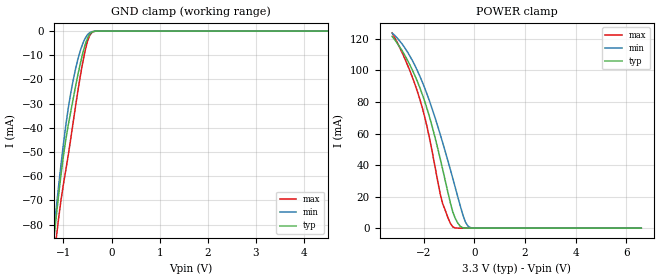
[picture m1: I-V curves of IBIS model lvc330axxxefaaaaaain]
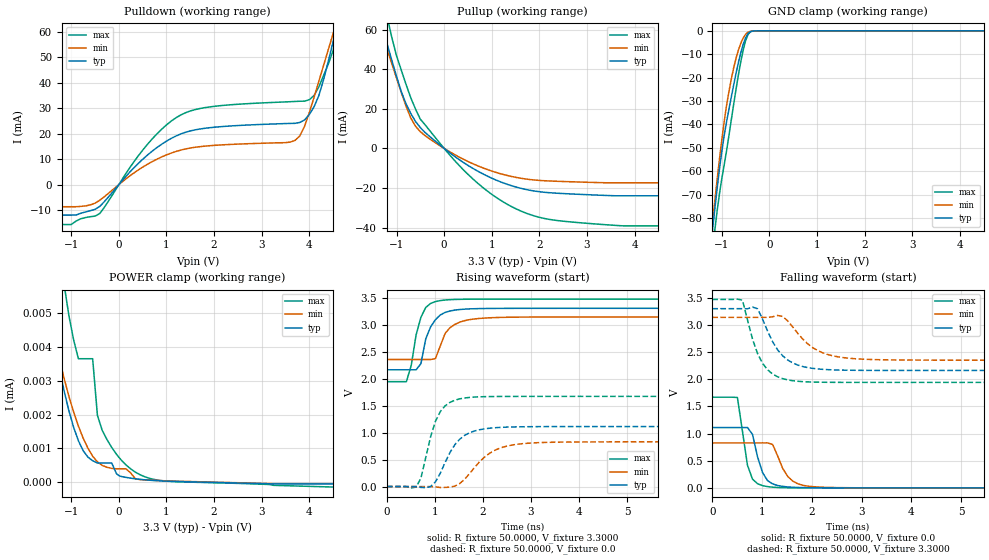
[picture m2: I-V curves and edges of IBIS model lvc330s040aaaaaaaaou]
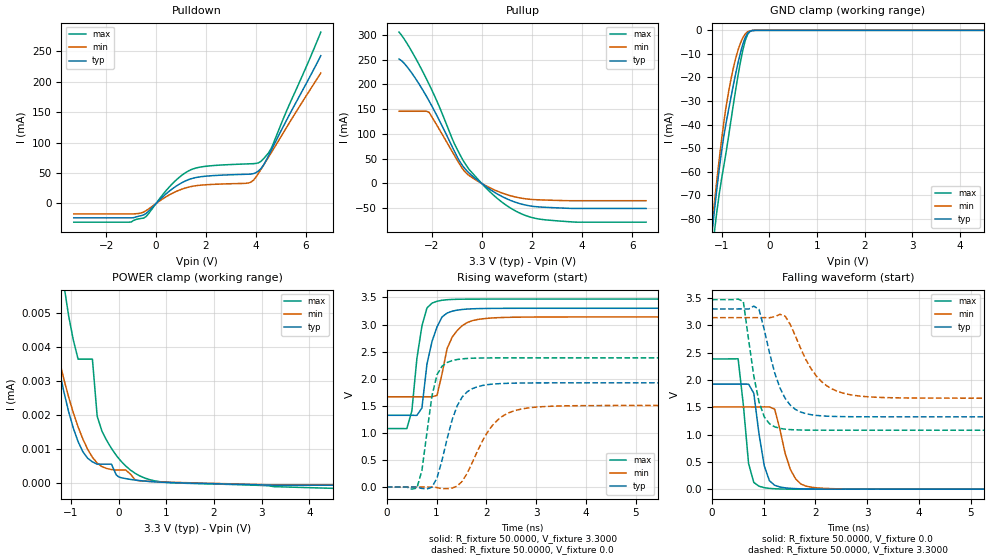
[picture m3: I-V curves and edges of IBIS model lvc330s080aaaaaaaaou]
| IBIS Models Generator: Lattice Diamond (64-bit) 3.14.0.75.2
| Generate date: Wed Apr 15 04:16:30 2026
| IBIS File LibisMaker.ibs
| LibisGen v2.0.1.0, 02/25/2008, Lattice Semiconductor Corporation
| Modified by LibisMaker v2.0.1.0, 02/25/2008, Lattice Semiconductor
| North Carolina State University, ERL, 2006
[IBIS ver]   3.2
[File Name]   PROJ500_PDU_FPGA_V1.ibs
[File Rev]   3.6
[Date]   Thu Aug  3 04:51:03 PDT 2023
[Source]   Lattice Semiconductor cs200fl Process
   LCMXO2-640HC   FINAL
   Lattice Semiconductor has worked hard to ensure the
   models below are accurate and complete.  However, the
   data below was generated using simulation of the
   input/output model files for the silicon.  Therefore,
   the data below is for reference and initial design
   purposes only.
   Lattice Semiconductor grants permission to use this
   data for use in printed circuit design using this
   Lattice programmable logic device.  Other use of this
   code, including the selling or duplication of any
   portion is strictly prohibited.
|   NAMING CONVENTION
   The IBIS [Model] header is limited by the specification to a
   total of characters.  With such a set of characters available
   for naming models it becomes important to attempt to
   meaningfully encode the IO standards so they fit within the
   twenty character limit.  It would seem that twenty characters
   would provide room enough for describing IO's.  However, the
   PLD IO structure continues to grow more and more complex.  The
   complexity is making the twenty characters insuffiently
   descriptive.  In order to overcome this issue the naming
   convention described below is implemented to resolve the issue.
The twenty character space is managed as follows:
   bbbvvvsdddprugtcoixx
   b = standard
   v = voltage (x.xx V)
   s = slew code
   d = drive (xx.x ma)
   p = pullup code
   r = series resistance  or bank_vccio code
   u = terminate to vcc code
   g = terminate to gnd code
   t = terminate to vtt code
   c = common mode termination mode
   o = diff resistor code
   i = diff resistor current code
   x = reserved
   standard
   lvcmos   lvc
   lvcmosd   lvd
   lvcmosr   lvr
   lvds25e   lve
   lvttl   lvt
   lvttld   ltd
   pci   pci
   sstl_I   ss1
   sstl_II   ss2
   sstld_I   s1d
   sstld_II   s2d
   hstl_i   hs1
   hstl_ii   hs2
   hstld_i   h1d
   hstld_ii   h2d
   lvds25   lvs
   blvds25   blv
   blvds25e   blv
   mlvds25   mlv
   mlvds25e   mlv
   lvpecl33   lvp
   lvpecl33e   lvp
   rsds25   rsd
   rsds25e   rse
   mipi   mip
   mipi_lp   mip
   vref1   vr1
   vref2   vr2
   ref_res   rer
   slew
   na   a
   fast   f
   slow   s
   pullmode
   off   a
   pullup   b
   pulldown   c
   bushold   d
   clamp   e
   up_clamp   f
   down_clamp   g
   keeper_clamp   h
   impedance or Bank_vccio
   off   a
   25   b
   33   c
   50   d
   100   e
   3.3   f
   2.5   g
   1.8   h
   1.5   i
   1.2   j
   termVCC
   off   a
   50   b
   100   c
   120   d
   termGND
   off   a
   50   b
   100   c
   120   d
   termVTT
   off   a
   60   b
   75   c
   120   d
   150   e
   210   f
   VCMT
   off   a
   VCMT   b
   VTT   c
   DDR-2   d
   differential resistor
   off   a
   100   b
   diff drive
   NA   a
   2.0   b
   3.5   c
   1.25   f
   2.5   g
   Reserved   IO type
   in   input only
   ou   output
   io   I/O
   od   Open drain
   on   Inverting differential I/O
   (signal name only)
   op   Non-Inverting differential I/O
   (signal name only)
   Lattice Semiconductor Corporation
   5555 NE Moore Court
   Hillsboro, OR 97214
   U.S.A
   TEL: 1-800-Lattice (USA and Canada)
   408-826-6000 (other locations)
   web: http://www.latticesemi.com/
   email: techsupport@latticesemi.com
[Disclaimer] This IBIS source code is intended as a design reference
   which illustrates how the Lattice Semiconductor device operates.
   It is the user's responsibility to verify their design for
   consistency and functionality through the use of formal
   verification methods.  Lattice Semiconductor provides no warranty
   regarding the use or functionality of this data.
[Copyright]   Copyright 2007 by Lattice Semiconductor Corporation
|   Component XO2
[Component]   XO2
[Manufacturer]   Lattice Semiconductor Corp.
[Package]
|QFN48
| variable   typ   min   max
 R_pkg   218m   207m   279m
 L_pkg   2.72nH   2.58nH   3.48nH
 C_pkg   0.26pF   0.247pF   0.33pF
[Pin] signal_name   model_name   R_pin   L_pin   C_pin
3   ARM_PERMIT   lvc330s040aaaaaaaaou
18   COMPUTE_EN   lvc330s080aaaaaaaaou
5   DUMP_EN   lvc330s040aaaaaaaaou
31   ESTOP_OK   lvc330axxxefaaaaaain
7   FAULT_CODE[0]   lvc330s040aaaaaaaaou
8   FAULT_CODE[1]   lvc330s040aaaaaaaaou
9   FAULT_CODE[2]   lvc330s040aaaaaaaaou
10   FAULT_CODE[3]   lvc330s040aaaaaaaaou
21   FAULT_LATCH   lvc330s040aaaaaaaaou
32   FB_CLOSED   lvc330axxxefaaaaaain
16   K_EN   lvc330s040aaaaaaaaou
17   K_SEL   lvc330s040aaaaaaaaou
40   MCU_ALIVE   lvc330axxxefaaaaaain
38   MCU_CMD_ARM   lvc330axxxefaaaaaain
37   MCU_CMD_FAULT   lvc330axxxefaaaaaain
19   MOTOR_EN   lvc330s040aaaaaaaaou
33   OV   lvc330axxxefaaaaaain
2   OVUV_OK   lvc330s040aaaaaaaaou
20   PRECHARGE_LATCH   lvc330s040aaaaaaaaou
36   PRECHARGE_OK   lvc330axxxefaaaaaain
4   PRECHARGE_REQ   lvc330s040aaaaaaaaou
14   SPARE_OUT_0   lvc330s040aaaaaaaaou
15   SPARE_OUT_1   lvc330s040aaaaaaaaou
11   STATE_CODE[0]   lvc330s040aaaaaaaaou
12   STATE_CODE[1]   lvc330s040aaaaaaaaou
27   SW_ARM   lvc330axxxefaaaaaain
29   SW_COMPUTE   lvc330axxxefaaaaaain
26   SW_REMOTE_ARM   lvc330axxxefaaaaaain
28   SW_RST_FAULT   lvc330axxxefaaaaaain
34   UV   lvc330axxxefaaaaaain
35   VBUS_OV   lvc330axxxefaaaaaain
43   i2c1_scl   lvc330s080afaaaaaaod
42   i2c1_sda   lvc330s080afaaaaaaod
| Models and submodels in the file (4): lvc330axxxefaaaaaain (Input), lvc330s040aaaaaaaaou (Output), lvc330s080aaaaaaaaou (Output), lvc330s080afaaaaaaod (I/O_open_drain)
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[Model]   lvc330axxxefaaaaaain
Model_type   Input
Polarity   Non-Inverting
Enable   Active-Low
Vinl =   0.8000V
Vinh =   2.0000V
C_comp   4.2000pF   3.8000pF   7.5000pF
[Temperature Range]   25.0000   0.1250k   -40.0000
[Voltage Range]   3.3000V   3.1400V   3.4700V
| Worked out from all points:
|   GND clamp passes 1 mA (typ) near -0.44 V on its own axis
|   POWER clamp passes 1 mA (typ) near -0.54 V on its own axis
[GND_clamp]
|Voltage   I(typ)   I(min)   I(max)
-3.3V     -955.3mA   -930.3mA   -978mA
-1.2V     -86.18mA   -82.93mA   -94.91mA
-1.15V    -76.73mA   -73.29mA   -85.74mA
-1.1V     -67.71mA   -63.95mA   -77.28mA
-1V       -51.52mA   -46.57mA   -63.21mA
-900mV    -38.87mA   -31.88mA   -51.26mA
-800mV    -28.25mA   -20.58mA   -37.97mA
-700mV    -18.1mA    -11.63mA   -24.81mA
-600mV    -9.267mA   -5.265mA   -13.06mA
-450mV    -1.181mA   -586.6uA   -1.592mA
-250mV    -3.532uA   -4.055uA   -3.003uA
6.6V      0A         0A         0A
[POWER_clamp]
|Voltage   I(typ)   I(min)   I(max)
-3.25V    121.6mA    123.7mA    123.8mA
-2.55V    103.6mA    109.2mA    99.91mA
-2.05V    84.55mA    92.42mA    76.01mA
-1.85V    74.75mA    84.09mA    62.98mA
-1.65V    63.47mA    74.86mA    47.24mA
-1.35V    44.14mA    59.56mA    21.79mA
-1.25V    37.23mA    54.16mA    15.46mA
-850mV    10.22mA    31.49mA    813uA
-650mV    3.122mA    19.66mA    19.66uA
-350mV    37.56uA    3.815mA    1.535uA
-150mV    934.2nA    336.7uA    1.026uA
6.6V      -57.56nA   -49.34nA   -232.5nA
[Model]   lvc330s040aaaaaaaaou
Model_type   Output
Polarity   Non-Inverting
Enable   Active-Low
Vmeas =   1.500000V
Cref =   0.0F
Rref =   1.0000M
Vref =   0.0V
C_comp   4.2000pF   3.8000pF   7.5000pF
[Temperature Range]   25.0000   0.1250k   -40.0000
[Voltage Range]   3.3000V   3.1400V   3.4700V
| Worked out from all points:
|   slope of the pulldown table from 0 to 0.495 V, typ, clamps not added: 50.3 ohm
|   slope of the pullup table from 0 to 0.495 V, typ, clamps not added: 58.2 ohm
|   GND clamp passes 1 mA (typ) near -0.44 V on its own axis
|   rising waveform, R_fixture 50.0000, V_fixture 3.3000: 20-80 % time 264ps typ, 311ps min, 218ps max; typ from 2.16 V to 3.3 V
|   rising waveform, R_fixture 50.0000, V_fixture 0.0: 20-80 % time 438ps typ, 579ps min, 327ps max; typ from 0 V to 1.11 V
|   falling waveform, R_fixture 50.0000, V_fixture 0.0: 20-80 % time 219ps typ, 291ps min, 181ps max; typ from 1.11 V to 0 V
|   falling waveform, R_fixture 50.0000, V_fixture 3.3000: 20-80 % time 443ps typ, 565ps min, 361ps max; typ from 3.3 V to 2.16 V
[Pulldown]
|Voltage   I(typ)   I(min)   I(max)
-3.3V     -11.95mA   -8.665mA   -15.64mA
-1V       -11.95mA   -8.665mA   -15.64mA
-500mV    -9.688mA   -7.272mA   -12.36mA
600mV     11.57mA    7.979mA    15.78mA
1.3V      19.87mA    13.54mA    27.32mA
3.7V      24.03mA    17.34mA    32.61mA
3.9V      25.35mA    22.92mA    32.72mA
4.1V      30.57mA    34.32mA    34.98mA
4.3V      41.28mA    46.83mA    42.85mA
4.5V      56.15mA    59.31mA    52.63mA
4.6V      63.78mA    65.49mA    60.83mA
6.6V      186.7mA    170.5mA    212.2mA
[Pullup]
|Voltage   I(typ)   I(min)   I(max)
-3.3V     181.9mA    129.8mA    219mA
-1.4V     69.7mA     64.85mA    88.33mA
-1.3V     61.4mA     57.55mA    77.61mA
-1.2V     53.01mA    50.21mA    66.78mA
-1.1V     44.61mA    42.84mA    56.18mA
-800mV    22.47mA    21.3mA     32.3mA
-500mV    10.48mA    8.431mA    14.74mA
600mV     -10.05mA   -7.708mA   -15.35mA
1.6V      -20.1mA    -15.04mA   -31.52mA
2.3V      -22.53mA   -16.54mA   -36.2mA
3.7V      -23.93mA   -17.39mA   -39.04mA
6.55V     -23.93mA   -17.39mA   -39.15mA
[GND_clamp]
|Voltage   I(typ)   I(min)   I(max)
-3.3V     -955.3mA   -930.3mA   -978mA
-1.2V     -86.18mA   -82.93mA   -94.91mA
-1.15V    -76.73mA   -73.29mA   -85.74mA
-1.1V     -67.71mA   -63.95mA   -77.28mA
-1V       -51.52mA   -46.57mA   -63.21mA
-900mV    -38.87mA   -31.88mA   -51.26mA
-800mV    -28.25mA   -20.58mA   -37.97mA
-700mV    -18.1mA    -11.63mA   -24.81mA
-600mV    -9.267mA   -5.265mA   -13.06mA
-450mV    -1.181mA   -586.6uA   -1.592mA
-250mV    -3.532uA   -4.055uA   -3.003uA
6.6V      0A         0A         0A
[POWER_clamp]
|Voltage   I(typ)   I(min)   I(max)
-3.25V    664.8uA    749.4uA    597.1uA
-1.55V    5.916uA    5.714uA    11.4uA
-1.45V    4.989uA    4.975uA    9.753uA
-1.15V    2.705uA    3.075uA    5.865uA
-850mV    1.227uA    1.663uA    3.656uA
-550mV    632.7nA    767.9nA    3.656uA
-450mV    564.9nA    596.8nA    1.977uA
-150mV    564.9nA    405.6nA    1.026uA
0V        190.5nA    392.4nA    734.7nA
450mV     79.23nA    72.94nA    213.9nA
950mV     30.32nA    38.42nA    33.55nA
6.6V      -57.56nA   -49.34nA   -232.5nA
[Ramp]
| variable   typ   min   max
dV/dt_r  0.7026/0.4330n   0.4966/0.5731n   1.0018/0.3242n
dV/dt_f  0.6827/0.4387n   0.4730/0.5599n   0.9168/0.3576n
R_load = 50.0000
[Rising Waveform]
R_fixture=   50.0000
V_fixture=   3.3000
V_fixture_min=   3.1400
V_fixture_max=   3.4700
|time   V(typ)   V(min)   V(max)
0s        2.162V     2.352V     1.942V
404ps     2.162V     2.352V     1.942V
606.1ps   2.162V     2.352V     2.806V
707.1ps   2.276V     2.352V     3.134V
808.1ps   2.736V     2.352V     3.316V
1.01ns    3.091V     2.37V      3.424V
1.111ns   3.177V     2.605V     3.443V
1.414ns   3.267V     3.002V     3.464V
2.02ns    3.296V     3.119V     3.47V
10ns      3.3V       3.14V      3.47V
[Rising Waveform]
R_fixture=   50.0000
V_fixture=   0.0
V_fixture_min=   0.0
V_fixture_max=   0.0
|time   V(typ)   V(min)   V(max)
0s        1.288uV    1.554uV    1.323uV
606.1ps   -395.5uV   2.808uV    -9.94mV
707.1ps   -15.72mV   17.67uV    156.1mV
909.1ps   -458.6uV   -207.2uV   922.6mV
1.01ns    88.34mV    -6.184mV   1.209V
1.212ns   447.1mV    -16.04mV   1.495V
1.515ns   876.6mV    55.59mV    1.623V
2.121ns   1.079V     606.6mV    1.666V
2.828ns   1.107V     794.2mV    1.669V
10ns      1.111V     827.7mV    1.67V
[Falling Waveform]
R_fixture=   50.0000
V_fixture=   0.0
V_fixture_min=   0.0
V_fixture_max=   0.0
|time   V(typ)   V(min)   V(max)
0s        1.111V     827.7mV    1.67V
505.1ps   1.111V     827.7mV    1.664V
707.1ps   1.111V     827.7mV    415.7mV
808.1ps   985.1mV    827.7mV    161.2mV
1.01ns    281.4mV    828.2mV    40.87mV
1.111ns   132.9mV    828.5mV    22.94mV
1.212ns   73.68mV    799.7mV    12.45mV
1.515ns   17.1mV     211.6mV    2.151mV
2.02ns    2.152mV    21.8mV     239.2uV
10ns      -1.071uV   8.416uV    -6.671uV
[Falling Waveform]
R_fixture=   50.0000
V_fixture=   3.3000
V_fixture_min=   3.1400
V_fixture_max=   3.4700
|time   V(typ)   V(min)   V(max)
0s        3.3V       3.14V      3.47V
606.1ps   3.3V       3.14V      3.457V
808.1ps   3.33V      3.14V      2.74V
909.1ps   3.299V     3.14V      2.475V
1.01ns    3.108V     3.141V     2.293V
1.212ns   2.692V     3.151V     2.097V
1.515ns   2.355V     3.075V     1.988V
2.02ns    2.2V       2.581V     1.948V
2.727ns   2.167V     2.389V     1.942V
10ns      2.162V     2.352V     1.942V
[Model]   lvc330s080aaaaaaaaou
Model_type   Output
Polarity   Non-Inverting
Enable   Active-Low
Vmeas =   1.500000V
Cref =   0.0F
Rref =   1.0000M
Vref =   0.0V
C_comp   4.2000pF   3.8000pF   7.5000pF
[Temperature Range]   25.0000   0.1250k   -40.0000
[Voltage Range]   3.3000V   3.1400V   3.4700V
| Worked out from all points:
|   slope of the pulldown table from 0 to 0.495 V, typ, clamps not added: 26 ohm
|   slope of the pullup table from 0 to 0.495 V, typ, clamps not added: 28.5 ohm
|   GND clamp passes 1 mA (typ) near -0.44 V on its own axis
|   rising waveform, R_fixture 50.0000, V_fixture 3.3000: 20-80 % time 251ps typ, 301ps min, 192ps max; typ from 1.32 V to 3.3 V
|   rising waveform, R_fixture 50.0000, V_fixture 0.0: 20-80 % time 363ps typ, 551ps min, 235ps max; typ from 0 V to 1.92 V
|   falling waveform, R_fixture 50.0000, V_fixture 0.0: 20-80 % time 188ps typ, 267ps min, 144ps max; typ from 1.92 V to 0 V
|   falling waveform, R_fixture 50.0000, V_fixture 3.3000: 20-80 % time 370ps typ, 535ps min, 253ps max; typ from 3.3 V to 1.32 V
[Pulldown]
|Voltage   I(typ)   I(min)   I(max)
-3.3V     -23.68mA   -17.2mA    -30.83mA
-1.1V     -23.68mA   -17.2mA    -30.83mA
-500mV    -18.89mA   -14.22mA   -24.07mA
-400mV    -16.44mA   -11.92mA   -21.58mA
600mV     22.43mA    15.62mA    30.22mA
1.3V      39.15mA    26.81mA    53.52mA
2V        44.82mA    30.69mA    61.1mA
3.7V      48.02mA    33.59mA    65.1mA
3.9V      48.94mA    38.13mA    65.35mA
4.2V      57.11mA    55.89mA    69.15mA
4.6V      86.19mA    82.47mA    89.45mA
6.6V      242.9mA    214.5mA    281.7mA
[Pullup]
|Voltage   I(typ)   I(min)   I(max)
-3.3V     251.3mA    145.8mA    305.6mA
-2.8V     223.5mA    145.8mA    267.3mA
-2.1V     166.4mA    143.5mA    200mA
-1.7V     127.9mA    109.7mA    155.7mA
-1.1V     65.82mA    57.34mA    80.93mA
-700mV    31.56mA    25.14mA    42.75mA
100mV     -3.836mA   -2.847mA   -5.414mA
800mV     -26.11mA   -19.07mA   -37.53mA
1.5V      -40.43mA   -28.94mA   -59.42mA
2.3V      -47.34mA   -33.02mA   -71.88mA
3.8V      -50.39mA   -34.76mA   -78.11mA
6.55V     -50.39mA   -34.76mA   -78.11mA
[GND_clamp]
|Voltage   I(typ)   I(min)   I(max)
-3.3V     -955.3mA   -930.3mA   -978mA
-1.2V     -86.18mA   -82.93mA   -94.91mA
-1.15V    -76.73mA   -73.29mA   -85.74mA
-1.1V     -67.71mA   -63.95mA   -77.28mA
-1V       -51.52mA   -46.57mA   -63.21mA
-900mV    -38.87mA   -31.88mA   -51.26mA
-800mV    -28.25mA   -20.58mA   -37.97mA
-700mV    -18.1mA    -11.63mA   -24.81mA
-600mV    -9.267mA   -5.265mA   -13.06mA
-450mV    -1.181mA   -586.6uA   -1.592mA
-250mV    -3.532uA   -4.055uA   -3.003uA
6.6V      0A         0A         0A
[POWER_clamp]
|Voltage   I(typ)   I(min)   I(max)
-3.25V    664.8uA    749.4uA    597.1uA
-1.55V    5.914uA    5.712uA    11.4uA
-1.45V    4.987uA    4.974uA    9.751uA
-1.15V    2.703uA    3.073uA    5.863uA
-850mV    1.226uA    1.662uA    3.655uA
-550mV    631.3nA    766.5nA    3.655uA
-450mV    563.6nA    595.5nA    1.977uA
-150mV    563.6nA    404.4nA    1.026uA
0V        190.5nA    391.2nA    734.7nA
450mV     79.23nA    72.94nA    213.9nA
950mV     30.32nA    38.42nA    33.55nA
6.6V      -57.56nA   -49.34nA   -232.5nA
[Ramp]
| variable   typ   min   max
dV/dt_r  1.1542/0.3590n   0.9035/0.5460n   1.4308/0.2329n
dV/dt_f  1.1855/0.3662n   0.8843/0.5297n   1.4345/0.2507n
R_load = 50.0000
[Rising Waveform]
R_fixture=   50.0000
V_fixture=   3.3000
V_fixture_min=   3.1400
V_fixture_max=   3.4700
|time   V(typ)   V(min)   V(max)
0s        1.324V     1.666V     1.079V
404ps     1.324V     1.666V     1.079V
505.1ps   1.324V     1.666V     1.407V
606.1ps   1.323V     1.666V     2.373V
707.1ps   1.46V      1.666V     2.973V
808.1ps   2.269V     1.667V     3.306V
1.01ns    2.956V     1.691V     3.43V
1.313ns   3.246V     2.765V     3.463V
1.818ns   3.293V     3.091V     3.469V
10ns      3.3V       3.14V      3.47V
[Rising Waveform]
R_fixture=   50.0000
V_fixture=   0.0
V_fixture_min=   0.0
V_fixture_max=   0.0
|time   V(typ)   V(min)   V(max)
0s        830nV      1.065uV    812.2nV
606.1ps   -647.3uV   2.343uV    -19.28mV
707.1ps   -25.56mV   18.24uV    307.2mV
909.1ps   -1.644mV   -352.6uV   1.685V
1.01ns    168.3mV    -10.05mV   2.075V
1.313ns   1.24V      -19.03mV   2.334V
1.717ns   1.816V     450.2mV    2.378V
2.121ns   1.9V       1.136V     2.384V
2.727ns   1.921V     1.444V     2.385V
10ns      1.924V     1.506V     2.385V
[Falling Waveform]
R_fixture=   50.0000
V_fixture=   0.0
V_fixture_min=   0.0
V_fixture_max=   0.0
|time   V(typ)   V(min)   V(max)
0s        1.924V     1.506V     2.385V
505.1ps   1.924V     1.506V     2.387V
707.1ps   1.923V     1.506V     469.1mV
808.1ps   1.757V     1.506V     123.1mV
1.01ns    427.9mV    1.507V     27.45mV
1.212ns   71.02mV    1.464V     7.412mV
1.414ns   24.43mV    655.3mV    2.129mV
1.616ns   9.884mV    189mV      652.9uV
1.919ns   2.628mV    35.9mV     184.5uV
10ns      -6.753uV   -8.585uV   -14.06uV
[Falling Waveform]
R_fixture=   50.0000
V_fixture=   3.3000
V_fixture_min=   3.1400
V_fixture_max=   3.4700
|time   V(typ)   V(min)   V(max)
0s        3.3V       3.14V      3.47V
606.1ps   3.3V       3.14V      3.436V
808.1ps   3.351V     3.14V      2.072V
909.1ps   3.292V     3.14V      1.597V
1.111ns   2.497V     3.138V     1.198V
1.313ns   1.855V     3.2V       1.113V
1.616ns   1.458V     2.796V     1.086V
2.02ns    1.35V      2.067V     1.08V
2.626ns   1.327V     1.737V     1.079V
10ns      1.324V     1.666V     1.079V
